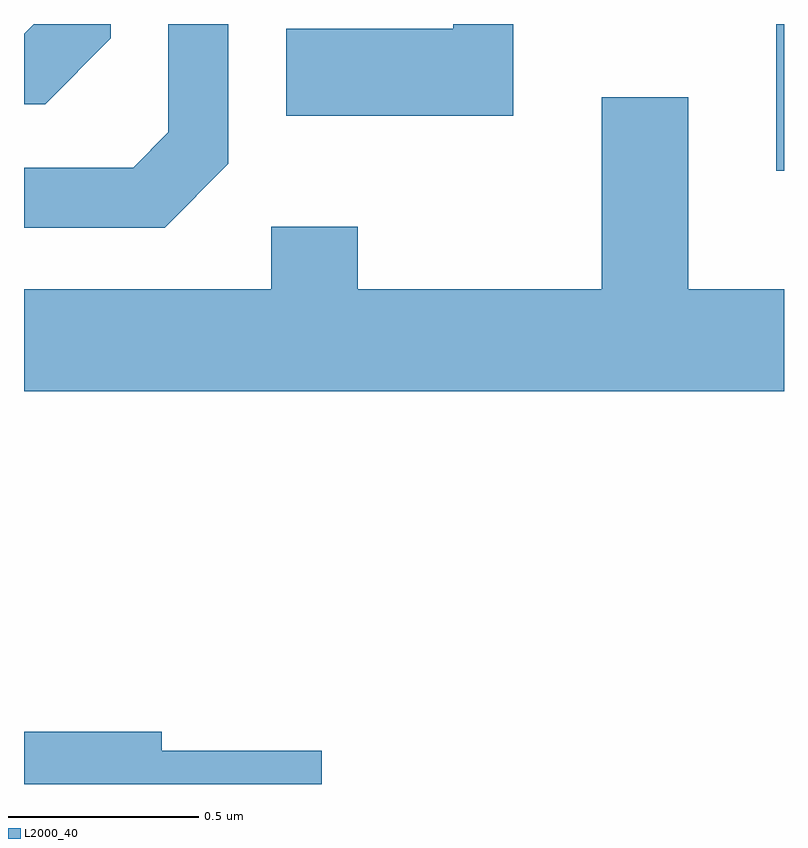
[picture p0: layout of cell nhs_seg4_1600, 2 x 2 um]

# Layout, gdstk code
import gdstk
lib = gdstk.Library(unit=1e-6, precision=1e-09)
def R(c, l, rs):  # rectangles x0, y0, x1, y1
    for r in rs: c.add(gdstk.rectangle(r[:2], r[2:], *l))
def P(c, l, *ps):  # polygons
    for p in ps: c.add(gdstk.Polygon(p, *l))
L2000_40 = (2000, 40)

nhs_seg4_1600 = lib.new_cell('nhs_seg4_1600')
R(nhs_seg4_1600, L2000_40, [(198.591,1348.596,198.611,1348.982)])
P(nhs_seg4_1600, L2000_40, [(197.899,1348.982),(197.741,1348.982),(197.741,1348.969),(197.301,1348.969),(197.301,1348.741),(197.899,1348.741)],
  [(197.149,1348.614),(197.149,1348.982),(196.991,1348.982),(196.991,1348.697),(196.899,1348.604),(196.611,1348.604),(196.611,1348.446),(196.982,1348.446)],
  [(196.839,1348.944),(196.839,1348.982),(196.636,1348.982),(196.611,1348.956),(196.611,1348.771),(196.667,1348.771)],
  [(198.611,1348.284),(198.359,1348.284),(198.359,1348.789),(198.131,1348.789),(198.131,1348.284),(197.489,1348.284),(197.489,1348.449),(197.261,1348.449),(197.261,1348.284),(196.611,1348.284),(196.611,1348.016),(198.611,1348.016)],
  [(197.394,1347.069),(196.974,1347.069),(196.974,1347.119),(196.611,1347.119),(196.611,1346.982),(197.394,1346.982)])

lib.write_gds('nhs_seg4_1600.gds')
